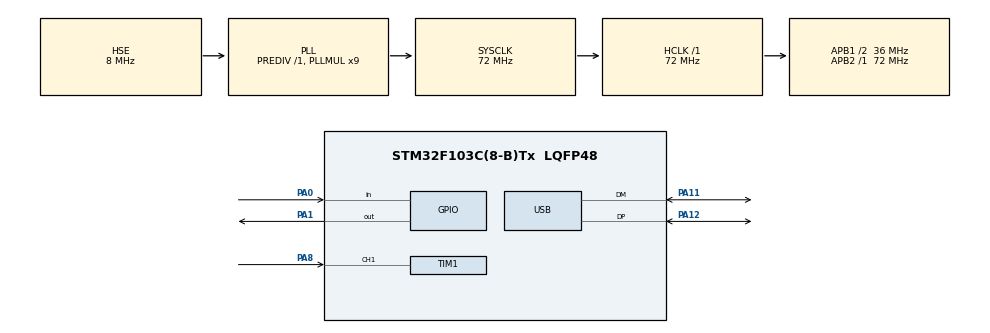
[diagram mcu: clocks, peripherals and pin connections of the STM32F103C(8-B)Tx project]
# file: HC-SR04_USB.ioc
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Mcu.Family=STM32F1
Mcu.Name=STM32F103C(8-B)Tx
Mcu.Package=LQFP48
NVIC.PriorityGroup=NVIC_PRIORITYGROUP_4
NVIC.USB_LP_CAN1_RX0_IRQn=true\:0\:0\:false\:false\:true\:false\:true\:true
PA0-WKUP.Signal=GPIO_Input
PA1.Signal=GPIO_Output
PA11.Mode=Device
PA11.Signal=USB_DM
PA12.Mode=Device
PA12.Signal=USB_DP
PA13.Mode=Serial_Wire
PA13.Signal=SYS_JTMS-SWDIO
PA14.Mode=Serial_Wire
PA14.Signal=SYS_JTCK-SWCLK
PA8.Signal=S_TIM1_CH1
PD0-OSC_IN.Mode=HSE-External-Oscillator
PD0-OSC_IN.Signal=RCC_OSC_IN
PD1-OSC_OUT.Mode=HSE-External-Oscillator
PD1-OSC_OUT.Signal=RCC_OSC_OUT
ProjectManager.HeapSize=0x200
ProjectManager.StackSize=0x400
ProjectManager.TargetToolchain=STM32CubeIDE
RCC.AHBFreq_Value=72000000
RCC.APB1CLKDivider=RCC_HCLK_DIV2
RCC.APB1Freq_Value=36000000
RCC.APB1TimFreq_Value=72000000
RCC.APB2Freq_Value=72000000
RCC.APB2TimFreq_Value=72000000
RCC.HCLKFreq_Value=72000000
RCC.PLLMUL=RCC_PLL_MUL9
RCC.SYSCLKFreq_VALUE=72000000
RCC.SYSCLKSource=RCC_SYSCLKSOURCE_PLLCLK
RCC.USBFreq_Value=48000000
RCC.USBPrescaler=RCC_USBCLKSOURCE_PLL_DIV1_5
SH.S_TIM1_CH1.0=TIM1_CH1,Input_Capture1_from_TI1
TIM1.Channel-Input_Capture1_from_TI1=TIM_CHANNEL_1
TIM1.Prescaler=71
USB_DEVICE.CLASS_NAME_FS=CDC
USB_DEVICE.VirtualMode=Cdc
USB_DEVICE.VirtualModeFS=Cdc_FS
VP_TIM1_VS_ClockSourceINT.Mode=Internal
VP_USB_DEVICE_VS_USB_DEVICE_CDC_FS.Mode=CDC_FS
board=custom

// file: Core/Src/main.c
/* USER CODE BEGIN Header */
/**
 ******************************************************************************
 * @file           : main.c
 * @brief          : Main program body
 ******************************************************************************
 * @attention
 *
 * Copyright (c) 2024 STMicroelectronics.
 * All rights reserved.
 *
 * This software is licensed under terms that can be found in the LICENSE file
 * in the root directory of this software component.
 * If no LICENSE file comes with this software, it is provided AS-IS.
 *
 ******************************************************************************
 */
/* USER CODE END Header */
#include "main.h"
#include "usb_device.h"

/* USER CODE BEGIN Includes */
#include "../../Core/Hardware_Interface/HW_Interface_HCSR04.h"
#include "../../Device_Drivers/HD44780_LCD/HD44780_LCD.h"
#include "stdio.h"
#include "stdint.h"
#include "usbd_cdc_if.h"
#include "string.h"
extern HCSR04_t hc;
/* USER CODE END Includes */

TIM_HandleTypeDef htim1;

void SystemClock_Config(void);
static void MX_GPIO_Init(void);
static void MX_TIM1_Init(void);

int main(void) {

	/* MCU Configuration--------------------------------------------------------*/

	/* Reset of all peripherals, Initializes the Flash interface and the Systick. */
	HAL_Init();

	/* Configure the system clock */
	SystemClock_Config();

	/* Initialize all configured peripherals */
	MX_GPIO_Init();
	MX_USB_DEVICE_Init();
	MX_TIM1_Init();
	/* USER CODE BEGIN 2 */
	GPIO_InitTypeDef G = { .Pin = TRIG_PIN, .Mode = GPIO_MODE_OUTPUT_PP,
			.Speed = GPIO_SPEED_FREQ_LOW };

	HAL_GPIO_Init(TRIG_PORT, &G);

	G.Pin = ECHO_PIN;
	G.Mode = GPIO_MODE_INPUT;
	G.Pull = GPIO_NOPULL;
	HAL_GPIO_Init(ECHO_PORT, &G);

	float dist = 0;
	char usb[32];
	/* USER CODE END 2 */
	/* Infinite loop */
	/* USER CODE BEGIN WHILE */
	while (1) {
		HC_SR04_ReadDistance(&hc, &dist);
		sprintf(usb, "Distance=%.2f cm\r\n", dist * 100);
		CDC_Transmit_FS((uint8_t*) usb, strlen(usb));
		HAL_Delay(10);
	}
}
void SystemClock_Config(void) {
	RCC_OscInitTypeDef RCC_OscInitStruct = { 0 };
	RCC_ClkInitTypeDef RCC_ClkInitStruct = { 0 };
	RCC_PeriphCLKInitTypeDef PeriphClkInit = { 0 };

	/** Initializes the RCC Oscillators according to the specified parameters
	 * in the RCC_OscInitTypeDef structure.
	 */
	RCC_OscInitStruct.OscillatorType = RCC_OSCILLATORTYPE_HSE;
	RCC_OscInitStruct.HSEState = RCC_HSE_ON;
	RCC_OscInitStruct.HSEPredivValue = RCC_HSE_PREDIV_DIV1;
	RCC_OscInitStruct.HSIState = RCC_HSI_ON;
	RCC_OscInitStruct.PLL.PLLState = RCC_PLL_ON;
	RCC_OscInitStruct.PLL.PLLSource = RCC_PLLSOURCE_HSE;
	RCC_OscInitStruct.PLL.PLLMUL = RCC_PLL_MUL9;
	if (HAL_RCC_OscConfig(&RCC_OscInitStruct) != HAL_OK) {
		Error_Handler();
	}

	/** Initializes the CPU, AHB and APB buses clocks
	 */
	RCC_ClkInitStruct.ClockType = RCC_CLOCKTYPE_HCLK | RCC_CLOCKTYPE_SYSCLK
			| RCC_CLOCKTYPE_PCLK1 | RCC_CLOCKTYPE_PCLK2;
	RCC_ClkInitStruct.SYSCLKSource = RCC_SYSCLKSOURCE_PLLCLK;
	RCC_ClkInitStruct.AHBCLKDivider = RCC_SYSCLK_DIV1;
	RCC_ClkInitStruct.APB1CLKDivider = RCC_HCLK_DIV2;
	RCC_ClkInitStruct.APB2CLKDivider = RCC_HCLK_DIV1;

	if (HAL_RCC_ClockConfig(&RCC_ClkInitStruct, FLASH_LATENCY_2) != HAL_OK) {
		Error_Handler();
	}
	PeriphClkInit.PeriphClockSelection = RCC_PERIPHCLK_USB;
	PeriphClkInit.UsbClockSelection = RCC_USBCLKSOURCE_PLL_DIV1_5;
	if (HAL_RCCEx_PeriphCLKConfig(&PeriphClkInit) != HAL_OK) {
		Error_Handler();
	}
}

static void MX_TIM1_Init(void) {

	TIM_ClockConfigTypeDef sClockSourceConfig = { 0 };
	TIM_MasterConfigTypeDef sMasterConfig = { 0 };
	TIM_IC_InitTypeDef sConfigIC = { 0 };

	htim1.Instance = TIM1;
	htim1.Init.Prescaler = 71;
	htim1.Init.CounterMode = TIM_COUNTERMODE_UP;
	htim1.Init.Period = 65535;
	htim1.Init.ClockDivision = TIM_CLOCKDIVISION_DIV1;
	htim1.Init.RepetitionCounter = 0;
	htim1.Init.AutoReloadPreload = TIM_AUTORELOAD_PRELOAD_DISABLE;
	if (HAL_TIM_Base_Init(&htim1) != HAL_OK) {
		Error_Handler();
	}
	sClockSourceConfig.ClockSource = TIM_CLOCKSOURCE_INTERNAL;
	if (HAL_TIM_ConfigClockSource(&htim1, &sClockSourceConfig) != HAL_OK) {
		Error_Handler();
	}
	if (HAL_TIM_IC_Init(&htim1) != HAL_OK) {
		Error_Handler();
	}
	sMasterConfig.MasterOutputTrigger = TIM_TRGO_RESET;
	sMasterConfig.MasterSlaveMode = TIM_MASTERSLAVEMODE_DISABLE;
	if (HAL_TIMEx_MasterConfigSynchronization(&htim1, &sMasterConfig)
			!= HAL_OK) {
		Error_Handler();
	}
	sConfigIC.ICPolarity = TIM_INPUTCHANNELPOLARITY_RISING;
	sConfigIC.ICSelection = TIM_ICSELECTION_DIRECTTI;
	sConfigIC.ICPrescaler = TIM_ICPSC_DIV1;
	sConfigIC.ICFilter = 0;
	if (HAL_TIM_IC_ConfigChannel(&htim1, &sConfigIC, TIM_CHANNEL_1) != HAL_OK) {
		Error_Handler();
	}

}

static void MX_GPIO_Init(void) {
	GPIO_InitTypeDef GPIO_InitStruct = { 0 };

	/* GPIO Ports Clock Enable */
	__HAL_RCC_GPIOD_CLK_ENABLE();
	__HAL_RCC_GPIOA_CLK_ENABLE();

	/*Configure GPIO pin Output Level */
	HAL_GPIO_WritePin(GPIOA, GPIO_PIN_1, GPIO_PIN_RESET);

	/*Configure GPIO pin : PA0 */
	GPIO_InitStruct.Pin = GPIO_PIN_0;
	GPIO_InitStruct.Mode = GPIO_MODE_INPUT;
	GPIO_InitStruct.Pull = GPIO_NOPULL;
	HAL_GPIO_Init(GPIOA, &GPIO_InitStruct);

	/*Configure GPIO pin : PA1 */
	GPIO_InitStruct.Pin = GPIO_PIN_1;
	GPIO_InitStruct.Mode = GPIO_MODE_OUTPUT_PP;
	GPIO_InitStruct.Pull = GPIO_NOPULL;
	GPIO_InitStruct.Speed = GPIO_SPEED_FREQ_LOW;
	HAL_GPIO_Init(GPIOA, &GPIO_InitStruct);

}

void Error_Handler(void) {
	__disable_irq();
	while (1) {
	}
}
